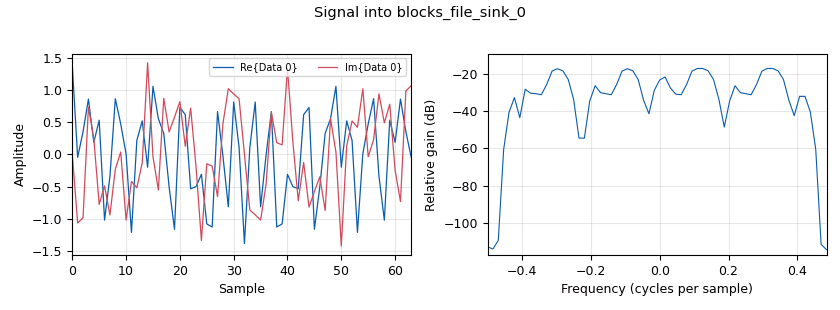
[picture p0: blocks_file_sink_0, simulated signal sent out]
<?xml version='1.0' encoding='utf-8'?>
<?grc format='1' created='3.7.5'?>
<flow_graph>
<block>
<key>options</key>
<param><key>id</key><value>gen_long_sym</value></param>
<param><key>generate_options</key><value>wx_gui</value></param>
<param><key>category</key><value>Custom</value></param>
</block>
<block>
<key>variable</key>
<param><key>id</key><value>long_sym_freq_domain</value></param>
<param><key>value</key><value>[0,0,0,0,0,0,1,1,-1,-1,1,1,-1,1,-1,1,1,1,1,1,1,-1,-1,1,1,-1,1,-1,1,1,1,1,0,1,-1,-1,1,1,-1,1,-1,1,-1,-1,-1,-1,-1,1,1,-1,-1,1,-1,1,-1,1,1,1,1,0,0,0,0,0]</value></param>
</block>
<block>
<key>blocks_vector_source_x</key>
<param><key>id</key><value>blocks_vector_source_x_0</value></param>
<param><key>type</key><value>complex</value></param>
<param><key>vector</key><value>long_sym_freq_domain</value></param>
<param><key>repeat</key><value>False</value></param>
</block>
<block>
<key>blocks_stream_to_vector</key>
<param><key>id</key><value>blocks_stream_to_vector_0</value></param>
<param><key>type</key><value>complex</value></param>
<param><key>num_items</key><value>64</value></param>
</block>
<block>
<key>fft_vxx</key>
<param><key>id</key><value>fft_vxx_0</value></param>
<param><key>type</key><value>complex</value></param>
<param><key>fft_size</key><value>64</value></param>
<param><key>forward</key><value>False</value></param>
<param><key>window</key><value>tuple([1.0/(52**0.5)] * 64)</value></param>
<param><key>shift</key><value>True</value></param>
</block>
<block>
<key>blocks_vector_to_stream</key>
<param><key>id</key><value>blocks_vector_to_stream_0</value></param>
<param><key>type</key><value>complex</value></param>
<param><key>num_items</key><value>64</value></param>
</block>
<block>
<key>digitalcomm_text_sink_X</key>
<param><key>id</key><value>digitalcomm_text_sink_X_0</value></param>
<param><key>_enabled</key><value>False</value></param>
<param><key>type</key><value>complex</value></param>
<param><key>filename</key><value>&lt;&lt;stdout&gt;&gt;</value></param>
<param><key>append</key><value>False</value></param>
<param><key>unbuffered</key><value>True</value></param>
<param><key>delimiter</key><value>"\t"</value></param>
</block>
<block>
<key>blocks_file_sink</key>
<param><key>id</key><value>blocks_file_sink_0</value></param>
<param><key>file</key><value>/home/vohuudtr/workspace/channel_hiding/gr-swifi/examples/long_sym.32fc</value></param>
<param><key>type</key><value>complex</value></param>
<param><key>unbuffered</key><value>True</value></param>
</block>
<connection><source_block_id>fft_vxx_0</source_block_id><sink_block_id>blocks_vector_to_stream_0</sink_block_id><source_key>0</source_key><sink_key>0</sink_key></connection>
<connection><source_block_id>blocks_vector_source_x_0</source_block_id><sink_block_id>blocks_stream_to_vector_0</sink_block_id><source_key>0</source_key><sink_key>0</sink_key></connection>
<connection><source_block_id>blocks_stream_to_vector_0</source_block_id><sink_block_id>fft_vxx_0</sink_block_id><source_key>0</source_key><sink_key>0</sink_key></connection>
<connection><source_block_id>blocks_vector_to_stream_0</source_block_id><sink_block_id>blocks_file_sink_0</sink_block_id><source_key>0</source_key><sink_key>0</sink_key></connection>
<connection><source_block_id>blocks_vector_to_stream_0</source_block_id><sink_block_id>digitalcomm_text_sink_X_0</sink_block_id><source_key>0</source_key><sink_key>0</sink_key></connection>
</flow_graph>
